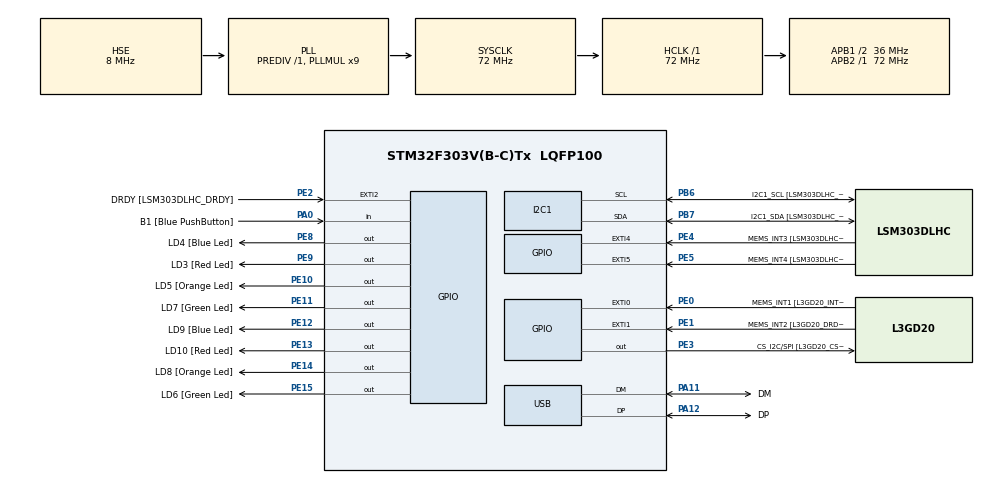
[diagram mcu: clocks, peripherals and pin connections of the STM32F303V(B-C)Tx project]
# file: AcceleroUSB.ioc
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Mcu.Family=STM32F3
Mcu.Name=STM32F303V(B-C)Tx
Mcu.Package=LQFP100
NVIC.PriorityGroup=NVIC_PRIORITYGROUP_0
NVIC.USB_LP_CAN_RX0_IRQn=true\:0\:0\:false\:false\:true\:false
PA0.GPIO_Label=B1 [Blue PushButton]
PA0.GPIO_Mode=GPIO_MODE_INPUT
PA0.GPIO_PuPd=GPIO_NOPULL
PA0.Signal=GPIO_Input
PA11.GPIO_Label=DM
PA11.Mode=Device
PA11.Signal=USB_DM
PA12.GPIO_Label=DP
PA12.Mode=Device
PA12.Signal=USB_DP
PA13.GPIO_Label=SWDIO
PA13.Signal=SYS_JTMS-SWDIO
PA14.GPIO_Label=SWCLK
PA14.Signal=SYS_JTCK-SWCLK
PA5.GPIO_Label=SPI1_SCK [L3GD20_SCL/SPC]
PA5.GPIO_Mode=GPIO_MODE_AF_PP
PA5.GPIO_PuPd=GPIO_NOPULL
PA5.GPIO_Speed=GPIO_SPEED_FREQ_LOW
PA5.Signal=SPI1_SCK
PA6.GPIO_Label=SPI1_MISO [L3GD20_SA0/SDO]
PA6.GPIO_Mode=GPIO_MODE_AF_PP
PA6.GPIO_PuPd=GPIO_NOPULL
PA6.GPIO_Speed=GPIO_SPEED_FREQ_LOW
PA6.Signal=SPI1_MISO
PA7.GPIO_Label=SPI1_MISO [L3GD20_SDA/SDI/SDO]
PA7.GPIO_Mode=GPIO_MODE_AF_PP
PA7.GPIO_PuPd=GPIO_NOPULL
PA7.GPIO_Speed=GPIO_SPEED_FREQ_LOW
PA7.Signal=SPI1_MOSI
PB3.GPIO_Label=SWO
PB3.Signal=SYS_JTDO-TRACESWO
PB6.GPIO_FM6=__NULL
PB6.GPIO_Label=I2C1_SCL [LSM303DLHC_SCL]
PB6.GPIO_Mode=GPIO_MODE_AF_OD
PB6.GPIO_PuPd=GPIO_NOPULL
PB6.GPIO_Speed=GPIO_SPEED_FREQ_LOW
PB6.Mode=I2C
PB6.Signal=I2C1_SCL
PB7.GPIO_FM7=__NULL
PB7.GPIO_Label=I2C1_SDA [LSM303DLHC_SDA]
PB7.GPIO_Mode=GPIO_MODE_AF_OD
PB7.GPIO_PuPd=GPIO_NOPULL
PB7.GPIO_Speed=GPIO_SPEED_FREQ_LOW
PB7.Mode=I2C
PB7.Signal=I2C1_SDA
PC14-OSC32_IN.GPIO_Label=OSC32_IN
PC14-OSC32_IN.Signal=RCC_OSC32_IN
PC15-OSC32_OUT.GPIO_Label=OSC32_OUT
PC15-OSC32_OUT.Signal=RCC_OSC32_OUT
PE0.GPIO_Label=MEMS_INT1 [L3GD20_INT1]
PE0.GPIO_ModeDefaultEXTI=GPIO_MODE_EVT_RISING
PE0.GPIO_PuPd=GPIO_NOPULL
PE0.Signal=GPXTI0
PE1.GPIO_Label=MEMS_INT2 [L3GD20_DRDY/INT2]
PE1.GPIO_ModeDefaultEXTI=GPIO_MODE_EVT_RISING
PE1.GPIO_PuPd=GPIO_NOPULL
PE1.Signal=GPXTI1
PE10.GPIO_Label=LD5 [Orange Led]
PE10.GPIO_ModeDefaultOutputPP=GPIO_MODE_OUTPUT_PP
PE10.GPIO_PuPd=GPIO_NOPULL
PE10.GPIO_Speed=GPIO_SPEED_FREQ_LOW
PE10.Signal=GPIO_Output
PE11.GPIO_Label=LD7 [Green Led]
PE11.GPIO_ModeDefaultOutputPP=GPIO_MODE_OUTPUT_PP
PE11.GPIO_PuPd=GPIO_NOPULL
PE11.GPIO_Speed=GPIO_SPEED_FREQ_LOW
PE11.Signal=GPIO_Output
PE12.GPIO_Label=LD9 [Blue Led]
PE12.GPIO_ModeDefaultOutputPP=GPIO_MODE_OUTPUT_PP
PE12.GPIO_PuPd=GPIO_NOPULL
PE12.GPIO_Speed=GPIO_SPEED_FREQ_LOW
PE12.Signal=GPIO_Output
PE13.GPIO_Label=LD10 [Red Led]
PE13.GPIO_ModeDefaultOutputPP=GPIO_MODE_OUTPUT_PP
PE13.GPIO_PuPd=GPIO_NOPULL
PE13.GPIO_Speed=GPIO_SPEED_FREQ_LOW
PE13.Signal=GPIO_Output
PE14.GPIO_Label=LD8 [Orange Led]
PE14.GPIO_ModeDefaultOutputPP=GPIO_MODE_OUTPUT_PP
PE14.GPIO_PuPd=GPIO_NOPULL
PE14.GPIO_Speed=GPIO_SPEED_FREQ_LOW
PE14.Signal=GPIO_Output
PE15.GPIO_Label=LD6 [Green Led]
PE15.GPIO_ModeDefaultOutputPP=GPIO_MODE_OUTPUT_PP
PE15.GPIO_PuPd=GPIO_NOPULL
PE15.GPIO_Speed=GPIO_SPEED_FREQ_LOW
PE15.Signal=GPIO_Output
PE2.GPIO_Label=DRDY [LSM303DLHC_DRDY]
PE2.GPIO_ModeDefaultEXTI=GPIO_MODE_EVT_RISING
PE2.GPIO_PuPd=GPIO_NOPULL
PE2.Signal=GPXTI2
PE3.GPIO_Label=CS_I2C/SPI [L3GD20_CS_I2C/SPI]
PE3.GPIO_ModeDefaultOutputPP=GPIO_MODE_OUTPUT_PP
PE3.GPIO_PuPd=GPIO_NOPULL
PE3.GPIO_Speed=GPIO_SPEED_FREQ_LOW
PE3.Signal=GPIO_Output
PE4.GPIO_Label=MEMS_INT3 [LSM303DLHC_INT1]
PE4.GPIO_ModeDefaultEXTI=GPIO_MODE_EVT_RISING
PE4.GPIO_PuPd=GPIO_NOPULL
PE4.Signal=GPXTI4
PE5.GPIO_Label=MEMS_INT4 [LSM303DLHC_INT2]
PE5.GPIO_ModeDefaultEXTI=GPIO_MODE_EVT_RISING
PE5.GPIO_PuPd=GPIO_NOPULL
PE5.Signal=GPXTI5
PE8.GPIO_Label=LD4 [Blue Led]
PE8.GPIO_ModeDefaultOutputPP=GPIO_MODE_OUTPUT_PP
PE8.GPIO_PuPd=GPIO_NOPULL
PE8.GPIO_Speed=GPIO_SPEED_FREQ_LOW
PE8.Signal=GPIO_Output
PE9.GPIO_Label=LD3 [Red Led]
PE9.GPIO_ModeDefaultOutputPP=GPIO_MODE_OUTPUT_PP
PE9.GPIO_PuPd=GPIO_NOPULL
PE9.GPIO_Speed=GPIO_SPEED_FREQ_LOW
PE9.Signal=GPIO_Output
PF0-OSC_IN.GPIO_Label=OSC_IN
PF0-OSC_IN.Mode=HSE-External-Clock-Source
PF0-OSC_IN.Signal=RCC_OSC_IN
PF1-OSC_OUT.GPIO_Label=OSC_OUT
PF1-OSC_OUT.Signal=RCC_OSC_OUT
ProjectManager.HeapSize=0x200
ProjectManager.StackSize=0x400
ProjectManager.TargetToolchain=SW4STM32
RCC.AHBFreq_Value=72000000
RCC.APB1CLKDivider=RCC_HCLK_DIV2
RCC.APB1Freq_Value=36000000
RCC.APB1TimFreq_Value=72000000
RCC.APB2Freq_Value=72000000
RCC.APB2TimFreq_Value=72000000
RCC.CortexFreq_Value=72000000
RCC.HCLKFreq_Value=72000000
RCC.HSE_VALUE=8000000
RCC.HSI_VALUE=8000000
RCC.LSE_VALUE=32768
RCC.PLLMUL=RCC_PLL_MUL9
RCC.PRESCALERUSB=RCC_USBCLKSOURCE_PLL_DIV1_5
RCC.SYSCLKFreq_VALUE=72000000
RCC.SYSCLKSourceVirtual=RCC_SYSCLKSOURCE_PLLCLK
RCC.USBFreq_Value=48000000
USB_DEVICE.CLASS_NAME_FS=CDC
USB_DEVICE.VirtualMode=Cdc
USB_DEVICE.VirtualModeFS=Cdc_FS
VP_USB_DEVICE_VS_USB_DEVICE_CDC_FS.Mode=CDC_FS
board=STM32F3DISCOVERY

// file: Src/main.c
/**
  ******************************************************************************
  * File Name          : main.c
  * Description        : Main program body
  ******************************************************************************
  * This notice applies to any and all portions of this file
  * that are not between comment pairs USER CODE BEGIN and
  * USER CODE END. Other portions of this file, whether
  * inserted by the user or by software development tools
  * are owned by their respective copyright owners.
  *
  * Copyright (c) 2017 STMicroelectronics International N.V.
  * All rights reserved.
  *
  * Redistribution and use in source and binary forms, with or without
  * modification, are permitted, provided that the following conditions are met:
  *
  * 1. Redistribution of source code must retain the above copyright notice,
  *    this list of conditions and the following disclaimer.
  * 2. Redistributions in binary form must reproduce the above copyright notice,
  *    this list of conditions and the following disclaimer in the documentation
  *    and/or other materials provided with the distribution.
  * 3. Neither the name of STMicroelectronics nor the names of other
  *    contributors to this software may be used to endorse or promote products
  *    derived from this software without specific written permission.
  * 4. This software, including modifications and/or derivative works of this
  *    software, must execute solely and exclusively on microcontroller or
  *    microprocessor devices manufactured by or for STMicroelectronics.
  * 5. Redistribution and use of this software other than as permitted under
  *    this license is void and will automatically terminate your rights under
  *    this license.
  *
  * THIS SOFTWARE IS PROVIDED BY STMICROELECTRONICS AND CONTRIBUTORS "AS IS"
  * AND ANY EXPRESS, IMPLIED OR STATUTORY WARRANTIES, INCLUDING, BUT NOT
  * LIMITED TO, THE IMPLIED WARRANTIES OF MERCHANTABILITY, FITNESS FOR A
  * PARTICULAR PURPOSE AND NON-INFRINGEMENT OF THIRD PARTY INTELLECTUAL PROPERTY
  * RIGHTS ARE DISCLAIMED TO THE FULLEST EXTENT PERMITTED BY LAW. IN NO EVENT
  * SHALL STMICROELECTRONICS OR CONTRIBUTORS BE LIABLE FOR ANY DIRECT, INDIRECT,
  * INCIDENTAL, SPECIAL, EXEMPLARY, OR CONSEQUENTIAL DAMAGES (INCLUDING, BUT NOT
  * LIMITED TO, PROCUREMENT OF SUBSTITUTE GOODS OR SERVICES; LOSS OF USE, DATA,
  * OR PROFITS; OR BUSINESS INTERRUPTION) HOWEVER CAUSED AND ON ANY THEORY OF
  * LIABILITY, WHETHER IN CONTRACT, STRICT LIABILITY, OR TORT (INCLUDING
  * NEGLIGENCE OR OTHERWISE) ARISING IN ANY WAY OUT OF THE USE OF THIS SOFTWARE,
  * EVEN IF ADVISED OF THE POSSIBILITY OF SUCH DAMAGE.
  *
  ******************************************************************************
  */
#include "main.h"
#include "stm32f3xx_hal.h"
#include "i2c.h"
#include "usb_device.h"
#include "gpio.h"

/* USER CODE BEGIN Includes */
#include <string.h>
/* USER CODE END Includes */

/* USER CODE BEGIN PV */
/* Private variables ---------------------------------------------------------*/

/* USER CODE END PV */

void SystemClock_Config(void);

/* USER CODE BEGIN PFP */
/* Private function prototypes -----------------------------------------------*/

/* USER CODE END PFP */

/* USER CODE BEGIN 0 */
uint8_t CDC_Transmit_FS(uint8_t* Buf, uint16_t Len);
void BSP_ACCELERO_GetXYZ(int16_t *pDataXYZ);
void BSP_GYRO_GetXYZ(float* pfData);
uint8_t BSP_ACCELERO_Init();
uint8_t BSP_GYRO_Init();

/* USER CODE END 0 */

int main(void)
{

  /* MCU Configuration----------------------------------------------------------*/

  /* Reset of all peripherals, Initializes the Flash interface and the Systick. */
  HAL_Init();

  /* Configure the system clock */
  SystemClock_Config();

  /* Initialize all configured peripherals */
  MX_GPIO_Init();
  MX_I2C1_Init();
  MX_USB_DEVICE_Init();

  /* USER CODE BEGIN 2 */
  if (BSP_ACCELERO_Init() != HAL_OK) {
  	  /* Initialization Error */
      printf("Error initializing accelerometer.");
      while(1){}
  }
  if (BSP_GYRO_Init() != HAL_OK) {
      printf("Error initializing gyro.");
	  while(1){}
  }
  /* USER CODE END 2 */

  /* Infinite loop */
  /* USER CODE BEGIN WHILE */
  float buffer[3] = {0};
  int count = 0;
  char format[] = "%i,%i,%i;%d\n";
  char to_print[50];
  int buf[] = {0, 0, 0};
  while (1)
  {
	  if (count < 100) {
  		  count++;
//  		while (buf[0] == buffer[0] && buf[1] == buffer[1] && buf[2] == buffer[2]) {
  			BSP_GYRO_GetXYZ(buffer);
  		}
//  		  printf("%i %i %i \n", buffer[0],buffer[1],buffer[2]);
//  		  printf("%g %g %g \n", (double)(buffer[0]/16)/1000.0, (double)(buffer[1]/16)/1000.0, (double)(buffer[2]/16)/1000.0);
//  		  sprintf(to_print, format, buffer[0], buffer[1], buffer[2], HAL_GetTick());
//  		buf[0] = buffer[0];
//  		buf[1] = buffer[1];
//  		buf[2] = buffer[2];
//  	  } else {
//  		  sprintf(to_print, "%s\n", "end\n");
//  		  count = 0;
//  	  }

//	  CDC_Transmit_FS(to_print, strlen(to_print));
  /* USER CODE END WHILE */

  }

}

/** System Clock Configuration
*/
void SystemClock_Config(void)
{

  RCC_OscInitTypeDef RCC_OscInitStruct;
  RCC_ClkInitTypeDef RCC_ClkInitStruct;
  RCC_PeriphCLKInitTypeDef PeriphClkInit;

    /**Initializes the CPU, AHB and APB busses clocks
    */
  RCC_OscInitStruct.OscillatorType = RCC_OSCILLATORTYPE_HSI|RCC_OSCILLATORTYPE_HSE;
  RCC_OscInitStruct.HSEState = RCC_HSE_BYPASS;
  RCC_OscInitStruct.HSEPredivValue = RCC_HSE_PREDIV_DIV1;
  RCC_OscInitStruct.HSIState = RCC_HSI_ON;
  RCC_OscInitStruct.HSICalibrationValue = 16;
  RCC_OscInitStruct.PLL.PLLState = RCC_PLL_ON;
  RCC_OscInitStruct.PLL.PLLSource = RCC_PLLSOURCE_HSE;
  RCC_OscInitStruct.PLL.PLLMUL = RCC_PLL_MUL9;
  if (HAL_RCC_OscConfig(&RCC_OscInitStruct) != HAL_OK)
  {
    _Error_Handler(__FILE__, __LINE__);
  }

    /**Initializes the CPU, AHB and APB busses clocks
    */
  RCC_ClkInitStruct.ClockType = RCC_CLOCKTYPE_HCLK|RCC_CLOCKTYPE_SYSCLK
                              |RCC_CLOCKTYPE_PCLK1|RCC_CLOCKTYPE_PCLK2;
  RCC_ClkInitStruct.SYSCLKSource = RCC_SYSCLKSOURCE_PLLCLK;
  RCC_ClkInitStruct.AHBCLKDivider = RCC_SYSCLK_DIV1;
  RCC_ClkInitStruct.APB1CLKDivider = RCC_HCLK_DIV2;
  RCC_ClkInitStruct.APB2CLKDivider = RCC_HCLK_DIV1;

  if (HAL_RCC_ClockConfig(&RCC_ClkInitStruct, FLASH_LATENCY_2) != HAL_OK)
  {
    _Error_Handler(__FILE__, __LINE__);
  }

  PeriphClkInit.PeriphClockSelection = RCC_PERIPHCLK_USB|RCC_PERIPHCLK_I2C1;
  PeriphClkInit.I2c1ClockSelection = RCC_I2C1CLKSOURCE_HSI;
  PeriphClkInit.USBClockSelection = RCC_USBCLKSOURCE_PLL_DIV1_5;
  if (HAL_RCCEx_PeriphCLKConfig(&PeriphClkInit) != HAL_OK)
  {
    _Error_Handler(__FILE__, __LINE__);
  }

    /**Configure the Systick interrupt time
    */
  HAL_SYSTICK_Config(HAL_RCC_GetHCLKFreq()/1000);

    /**Configure the Systick
    */
  HAL_SYSTICK_CLKSourceConfig(SYSTICK_CLKSOURCE_HCLK);

  /* SysTick_IRQn interrupt configuration */
  HAL_NVIC_SetPriority(SysTick_IRQn, 0, 0);
}

void _Error_Handler(char * file, int line)
{
  while(1)
  {
  }
}

/************************ (C) COPYRIGHT STMicroelectronics *****END OF FILE****/
